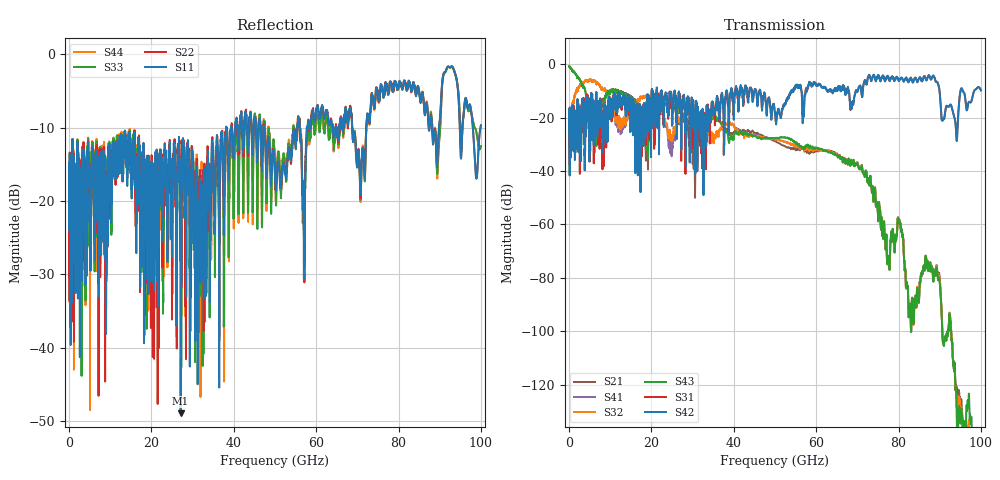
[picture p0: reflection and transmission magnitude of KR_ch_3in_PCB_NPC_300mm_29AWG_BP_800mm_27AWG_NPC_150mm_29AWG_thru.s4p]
# GHz S RI R 45
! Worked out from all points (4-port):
!   4000 points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, 25 MHz to 100 GHz, reference 45 ohm
!   strongest paths, dB at 25 MHz, 25.02 GHz, 50.02 GHz, 75.03 GHz, 100 GHz:
!     S42: -21.2, -20.7, -18.6, -4.1, -9.8
!     S31: -21.3, -17.7, -18.0, -4.3, -9.7
!     S43: -0.7, -14.6, -27.7, -57.4, -141.3
!     S32: -35.4, -28.9, -28.2, -57.4, -148.6
!     S41: -35.4, -33.2, -28.1, -57.4, -148.9
!     S21: -0.7, -14.6, -28.8, -57.5, -157.8
!   lowest |S11| = -48.9 dB at 27.1 GHz (marker M1), VSWR 1.01, Z = 44.7 + j0.0233 ohm
!   |S11| at or under -10 dB: start of sweep to 38.14 GHz; 47.29 GHz to 55.4 GHz (8.112 GHz wide, 15.8 % of centre); 68.72 GHz to 72.16 GHz (3.435 GHz wide, 4.88 % of centre)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
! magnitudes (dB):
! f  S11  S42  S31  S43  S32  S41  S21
! 25 MHz  -16.7  -21.2  -21.3  -0.7  -35.4  -35.4  -0.7
! 4.2 GHz  -17.6  -15.0  -14.0  -12.2  -6.1  -6.1  -11.7
! 27.1 GHz  -48.9  -15.4  -17.8  -17.2  -19.5  -20.0  -17.7
! 30.45 GHz  -19.5  -19.3  -21.1  -23.9  -17.8  -17.9  -31.9
! 69.85 GHz  -15.1  -10.3  -10.2  -37.6  -37.5  -37.5  -37.3
! 82.22 GHz  -4.2  -5.8  -6.4  -83.4  -83.3  -83.4  -83.4
! 100 GHz  -9.7  -9.8  -9.7  -141.3  -148.6  -148.9  -157.8
